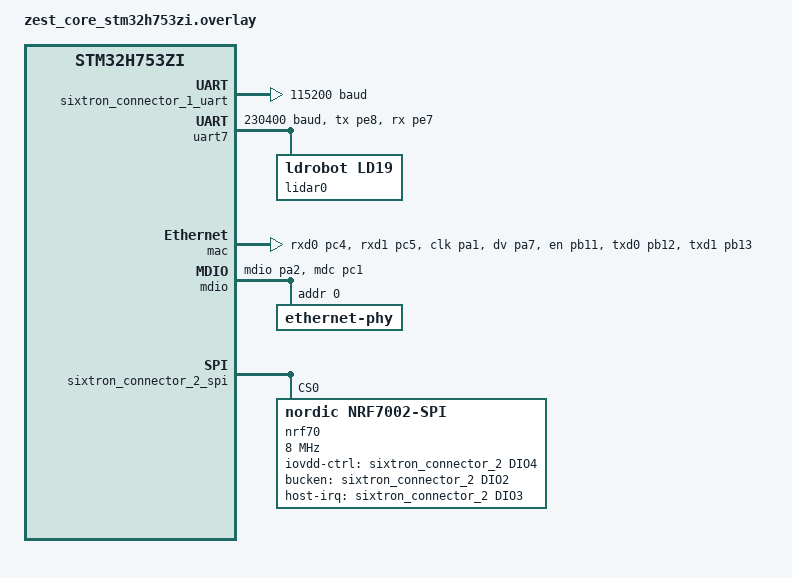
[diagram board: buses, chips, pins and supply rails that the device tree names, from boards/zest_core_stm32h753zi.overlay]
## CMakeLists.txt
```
# SPDX-License-Identifier: Apache-2.0

cmake_minimum_required(VERSION 3.13.1)

list(APPEND ZEPHYR_EXTRA_MODULES ${CMAKE_CURRENT_SOURCE_DIR}/../../../modules/micro_ros_zephyr_module/modules/libmicroros/)

find_package(Zephyr REQUIRED HINTS $ENV{ZEPHYR_BASE})
project(base_application)

# Apply Git patch before build
execute_process(
    COMMAND git apply ${CMAKE_CURRENT_SOURCE_DIR}/../fix_static_init_gnu.patch
    WORKING_DIRECTORY ${ZEPHYR_BASE}
    RESULT_VARIABLE result
)

list(APPEND CMAKE_MODULE_PATH ${ZEPHYR_BASE}/modules/nanopb)
include(nanopb)

zephyr_nanopb_sources(app src/minipock.proto)

option(INCLUDE_HTML_CONTENT "Include the HTML content" ON)

add_subdirectory(drivers)

target_include_directories(app PRIVATE include)
target_sources(app PRIVATE ${proto_sources})
target_sources(app PRIVATE src/main.c)
target_sources(app PRIVATE src/scan.c)
target_sources(app PRIVATE src/base_interface.c)
target_sources(app PRIVATE src/micro_ros_node.c)
target_sources(app PRIVATE src/update.c)
target_sources(app PRIVATE src/update_cmd.c)
target_sources(app PRIVATE src/flash_storage.c)
target_sources(app PRIVATE src/settings_cmd.c)
target_sources(app PRIVATE src/web_interface.c)

set(gen_dir ${ZEPHYR_BINARY_DIR}/include/generated/)

target_link_libraries(app PRIVATE zephyr_interface zephyr)

zephyr_linker_sources(SECTIONS sections-rom.ld)
zephyr_linker_section_ifdef(CONFIG_NET_SAMPLE_HTTP_SERVICE NAME
				http_resource_desc_web_interface_service
				KVMA RAM_REGION GROUP RODATA_REGION
				SUBALIGN ${CONFIG_LINKER_ITERABLE_SUBALIGN})

foreach(web_resource
  index.html
  style.css
  main.js
    )
  generate_inc_file_for_target(
    app
    src/static_web_resources/${web_resource}
    ${gen_dir}/${web_resource}.gz.inc
    --gzip
  )
endforeach()
```

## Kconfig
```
# SPDX-License-Identifier: Apache-2.0

mainmenu "MiniPock configuration"

menu "Zephyr"
source "Kconfig.zephyr"
endmenu

config ROS_ROS_DOMAIN_ID
    int "ROS Domain ID"
    default 10

config ROS_NAMESPACE
    string "ROS Namespace"
    default ""

rsource "drivers/Kconfig"
```

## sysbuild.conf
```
# Sysbuild MCUboot configuration

SB_CONFIG_BOOTLOADER_MCUBOOT=y
SB_CONFIG_MCUBOOT_MODE_OVERWRITE_ONLY=y
SB_CONFIG_BOOT_SIGNATURE_KEY_FILE="${APPLICATION_CONFIG_DIR}/key.pem"
```

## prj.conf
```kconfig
CONFIG_GPIO=y

CONFIG_SERIAL=y
CONFIG_UART_INTERRUPT_DRIVEN=y

CONFIG_SENSOR=y

CONFIG_LOG=y

CONFIG_MICROROS=y

CONFIG_MAIN_STACK_SIZE=8192
CONFIG_MAIN_THREAD_PRIORITY=3

CONFIG_PTHREAD_IPC=n

CONFIG_POSIX_API=y
CONFIG_POSIX_CLOCK=y

CONFIG_STDOUT_CONSOLE=y
CONFIG_UART_INTERRUPT_DRIVEN=y
CONFIG_UART_LINE_CTRL=y
CONFIG_RING_BUFFER=y

CONFIG_NANOPB=y

CONFIG_MICROROS_XRCE_DDS_MTU="4096"

CONFIG_NATIVE_POSIX_TIMER=y

CONFIG_SYSTEM_WORKQUEUE_STACK_SIZE=4096
CONFIG_NET_IPV4=y
CONFIG_NET_CONFIG_NEED_IPV4=y
CONFIG_NET_IPV6=n
CONFIG_NET_DHCPV4=y
CONFIG_SHELL=y
CONFIG_LOG=y
CONFIG_NETWORKING=y
CONFIG_NET_SOCKETS=y
CONFIG_NET_SOCKETS_POSIX_NAMES=y
CONFIG_POSIX_MAX_FDS=6

CONFIG_NET_UDP=y

CONFIG_MICROROS_TRANSPORT_UDP=y

CONFIG_ENTROPY_GENERATOR=y
CONFIG_TEST_RANDOM_GENERATOR=y

CONFIG_NET_MGMT=y
CONFIG_NET_MGMT_EVENT=y
CONFIG_NET_DHCPV4=y
CONFIG_NET_DHCPV4_OPTION_CALLBACKS=y

CONFIG_INIT_STACKS=y
CONFIG_NET_LOG=y
CONFIG_LOG=y

CONFIG_NET_SHELL=y

CONFIG_LD19_TRIGGER_GLOBAL_THREAD=y

CONFIG_MICROROS_PUBLISHERS="2"
CONFIG_MICROROS_CLIENTS="2"
CONFIG_MICROROS_AGENT_IP="192.168.1.3"

CONFIG_ROS_NAMESPACE="minipock_0"

CONFIG_WIFI=y
CONFIG_NET_L2_WIFI_MGMT=y
CONFIG_NET_PKT_RX_COUNT=10
CONFIG_NET_PKT_TX_COUNT=10
CONFIG_NET_BUF_RX_COUNT=40
CONFIG_NET_BUF_TX_COUNT=40
CONFIG_NET_MAX_CONTEXTS=10
CONFIG_NET_MAX_CONN=10

CONFIG_NET_IF_MAX_IPV4_COUNT=2

CONFIG_WIFI_FIXED_MAC_ADDRESS="02:00:00:00:00:01"

CONFIG_NET_L2_WIFI_SHELL=y
CONFIG_NET_MGMT_EVENT_QUEUE_TIMEOUT=5000
CONFIG_NET_MGMT_EVENT_QUEUE_SIZE=32

# Flash
CONFIG_FLASH=y
CONFIG_FLASH_MAP=y
CONFIG_STREAM_FLASH=y

CONFIG_IMG_MANAGER=y
CONFIG_MCUBOOT_IMGTOOL_SIGN_VERSION="2.2.0+0"

# Eventfd
CONFIG_EVENTFD=y

# Networking config
CONFIG_NET_TCP=y
CONFIG_NET_CONNECTION_MANAGER=y

# JSON
CONFIG_JSON_LIBRARY=y

# HTTP parser
CONFIG_HTTP_PARSER_URL=y
CONFIG_HTTP_PARSER=y
CONFIG_HTTP_SERVER=y
CONFIG_HTTP_SERVER_WEBSOCKET=n
```

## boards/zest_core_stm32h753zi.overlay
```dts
/ {
	chosen {
		zephyr,wifi = &wlan0;
	};

    aliases {
        rbdc-serial-port = &sixtron_connector_1_uart;
    };
};

&sixtron_connector_1_uart {
	current-speed = <115200>;
	status = "okay";
};

&uart7 {
	pinctrl-0 = <&uart7_tx_pe8 &uart7_rx_pe7>;
	pinctrl-names = "default";

	current-speed = <230400>;
	status = "okay";

  	lidar0: lidar_0 {
		compatible = "ldrobot,ld19";
	};
};

&mac {
	status = "okay";
	pinctrl-0 = <&eth_rxd0_pc4
		     &eth_rxd1_pc5
		     &eth_ref_clk_pa1
		     &eth_crs_dv_pa7
		     &eth_tx_en_pb11
		     &eth_txd0_pb12
		     &eth_txd1_pb13>;
	pinctrl-names = "default";
};

&mdio {
	status = "okay";
	pinctrl-0 = <&eth_mdio_pa2 &eth_mdc_pc1>;
	pinctrl-names = "default";

	ethernet-phy@0 {
		compatible = "ethernet-phy";
		reg = <0x00>;
		status = "okay";
	};
};

&sixtron_connector_2_spi {
	status = "okay";

	nrf70: nrf7002-spi@0 {
		compatible = "nordic,nrf7002-spi";
		status = "okay";
		reg = <0>;
		spi-max-frequency = <DT_FREQ_M(8)>;

		iovdd-ctrl-gpios = <&sixtron_connector_2 DIO4 (GPIO_ACTIVE_HIGH | GPIO_PULL_DOWN)>;    /* D0 */
		bucken-gpios = <&sixtron_connector_2 DIO2 (GPIO_ACTIVE_HIGH | GPIO_PULL_DOWN)>;        /* D1 */
		host-irq-gpios = <&sixtron_connector_2 DIO3 GPIO_ACTIVE_HIGH>;     /* D7 */

		/* Maximum TX power limits for 2.4 GHz */
		wifi-max-tx-pwr-2g-dsss = <21>;
		wifi-max-tx-pwr-2g-mcs0 = <16>;
		wifi-max-tx-pwr-2g-mcs7 = <16>;

		wifi-max-tx-pwr-5g-low-mcs0 = <13>;
		wifi-max-tx-pwr-5g-low-mcs7 = <13>;
		wifi-max-tx-pwr-5g-mid-mcs0 = <13>;
		wifi-max-tx-pwr-5g-mid-mcs7 = <13>;
		wifi-max-tx-pwr-5g-high-mcs0 = <12>;
		wifi-max-tx-pwr-5g-high-mcs7 = <12>;

		/* List of interfaces */
		wlan0: wlan0 {
			compatible = "nordic,wlan";
		};
	};
};

/delete-node/ &boot_partition;
/delete-node/ &storage_partition;
/delete-node/ &slot0_partition;
/delete-node/ &slot1_partition;
/delete-node/ &scratch_partition;

&flash0 {
	partitions {
		compatible = "fixed-partitions";
		#address-cells = <1>;
		#size-cells = <1>;

		/* 128KB for bootloader */
		boot_partition: partition@0 {
			label = "mcuboot";
			reg = <0x00000000 DT_SIZE_K(128)>;
			read-only;
		};

		/* application image slot: 896KB */
		slot0_partition: partition@20000 {
			label = "image-0";
			reg = <0x00020000 DT_SIZE_K(896)>;
		};

		/* backup slot: 896KB */
		slot1_partition: partition@100000 {
			label = "image-1";
			reg = <0x00100000 DT_SIZE_K(896)>;
		};

		/* storage: 128KB for settings */
		storage_partition: partition@1e0000 {
			label = "storage";
			reg = <0x001e0000 DT_SIZE_K(128)>;
		};
	};
};
```

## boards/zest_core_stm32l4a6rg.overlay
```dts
/ {
    aliases {
        rbdc-serial-port = &usart2;
    };
};

&usart3 {
    tx-rx-swap;
};

&usart2 {
	pinctrl-0 = <&usart2_tx_pa2 &usart2_rx_pa3>;
	pinctrl-names = "default";
	current-speed = <115200>;
	status = "okay";
};

&uart5 {
	pinctrl-0 = <&uart5_tx_pc12 &uart5_rx_pd2>;
	pinctrl-names = "default";
	current-speed = <921600>;
	status = "okay";

	esp_wifi: esp-wifi {
		compatible = "espressif,esp-at";
		status = "okay";
	};
};

&usart1 {
	pinctrl-0 = <&usart1_tx_pb6 &usart1_rx_pb7>;
	pinctrl-names = "default";

	current-speed = <230400>;
	status = "okay";

  lidar0: lidar_0 {
		compatible = "ldrobot,ld19";
	};
};
```

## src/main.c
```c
#include <zephyr/drivers/gpio.h>
#include <zephyr/kernel.h>
#include <zephyr/net/http/server.h>
#include <zephyr/net/net_context.h>
#include <zephyr/net/net_core.h>
#include <zephyr/net/net_if.h>
#include <zephyr/net/net_mgmt.h>
#include <zephyr/net/wifi_mgmt.h>

#include "flash_storage.h"
#include "micro_ros_node.h"
#include "update.h"

// Wireless management
static struct net_mgmt_event_callback wifi_shell_mgmt_cb;

// LED0
#define LED0_NODE DT_ALIAS(led0)
static const struct gpio_dt_spec led = GPIO_DT_SPEC_GET(LED0_NODE, gpios);

static bool connected = 0;

static void wifi_mgmt_event_handler(
        struct net_mgmt_event_callback *cb, uint32_t mgmt_event, struct net_if *iface)
{
    if (NET_EVENT_IPV4_ADDR_ADD == mgmt_event) {
        printk("IPv4 address added\n");
        connected = 1;
    }
}

int main()
{
    int ret;
    uint8_t major, minor, revision;
    char ssid[32];
    char password[32];
    uint8_t channel;

    update_get_current_version(&major, &minor, &revision);

    printk("MiniPock version: %d.%d.%d\n", major, minor, revision);

    // Init LED0
    if (!gpio_is_ready_dt(&led)) {
        return 0;
    }

    ret = gpio_pin_configure_dt(&led, GPIO_OUTPUT_ACTIVE);
    if (ret < 0) {
        return 0;
    }

    // Init Flash Storage
    ret = flash_storage_init();
    if (ret < 0) {
        printf("Flash storage init failed\n");
        return 0;
    }

    // Read SSID and Password from Flash
    flash_storage_read(SSID, ssid, sizeof(ssid));
    flash_storage_read(PASSWORD, password, sizeof(password));
    flash_storage_read(CHANNEL, &channel, sizeof(channel));

    if (strlen(ssid) == 0 || ssid[0] == 0xFF) {
        strcpy(ssid, CONFIG_MICROROS_WIFI_SSID);
    }

    if (strlen(password) == 0 || password[0] == 0xFF) {
        strcpy(password, CONFIG_MICROROS_WIFI_PASSWORD);
    }

    // ------ Wifi Configuration ------
    net_mgmt_init_event_callback(
            &wifi_shell_mgmt_cb, wifi_mgmt_event_handler, NET_EVENT_IPV4_ADDR_ADD);

    net_mgmt_add_event_callback(&wifi_shell_mgmt_cb);

    k_sleep(K_SECONDS(5));

    static struct wifi_connect_req_params wifi_args;

    wifi_args.security = WIFI_SECURITY_TYPE_PSK;
    wifi_args.channel = channel;
    wifi_args.psk = password;
    wifi_args.psk_length = strlen(wifi_args.psk);
    wifi_args.ssid = ssid;
    wifi_args.ssid_length = strlen(wifi_args.ssid);
    wifi_args.timeout = 0;

    struct net_if *iface = net_if_get_wifi_sta();

    if (!iface) {
        printf("No default network interface\n");
    }

    ret = net_mgmt(
            NET_REQUEST_WIFI_CONNECT, iface, &wifi_args, sizeof(struct wifi_connect_req_params));

    if (ret < 0) {
        printf("Connection request failed %d\n", ret);
    } else {
        printf("Connection requested\n");
    }

    while (!connected) {
        // printf("Waiting for connection\n");
        k_usleep(10000);
    }
    printf("Connection OK\n");

    init_micro_ros_transport();

    http_server_start();

    while (1) {
        gpio_pin_toggle_dt(&led);
        k_sleep(K_MSEC(1000));
    }
}
```

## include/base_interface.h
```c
#ifndef MOTOR_INTERFACE_H
#define MOTOR_INTERFACE_H

struct base_interface_callbacks {
    void (*send_odometry_callback)(float x, float y, float theta);
};

void send_command(float linear_x,
        float linear_y,
        float linear_z,
        float angular_x,
        float angular_y,
        float angular_z);
int init_base_interface(struct base_interface_callbacks *callbacks);

#endif // MOTOR_INTERFACE_H
```

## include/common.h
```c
#include <zephyr/kernel.h>

static uint64_t ros_timestamp;
static bool agent_connected = 0;
```

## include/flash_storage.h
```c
#ifndef FLASH_STORAGE_H
#define FLASH_STORAGE_H

#define NAMESPACE 0
#define SSID 1
#define PASSWORD 2
#define CHANNEL 3
#define AGENT_IP 4

#define SD_MODE 0 // 0: Use SD card
#define STORAGE_MODE 1 // 1: Use Flash storage

#define HOTSPOT_SSID "ShrekTelecomP" // Default SSID Used if not in using SD_MODE
#define HOTSPOT_PSK "Shrekos36" // Default Password Used if not in using SD_MODE
#define MICRO_ROS_AGENT_IP "192.168.169.25" // Default IP Used if not in using SD_MODE

int flash_storage_init(void);
int flash_storage_write(const int key, const char *value, size_t len);
int flash_storage_read(const int key, char *value, size_t max_len);

#endif // FLASH_STORAGE_H
```

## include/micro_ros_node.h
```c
#ifndef MICRO_ROS_NODE_H_
#define MICRO_ROS_NODE_H_

enum states { WAITING, AVAILABLE, CONNECTED, DISCONNECTED };

int micro_ros_node_get_last_version(void);

void disable_cmd_vel(void);

void enable_cmd_vel(void);

const char *get_micro_ros_node_status_string(enum states state);

enum states get_micro_ros_node_status(void);

int init_micro_ros_transport(void);

#endif // MICRO_ROS_NODE_H_
```

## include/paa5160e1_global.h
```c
/*
 * Copyright (c) 2025, CATIE
 * SPDX-License-Identifier: Apache-2.0
 */

#ifndef ZEPHYR_DRIVERS_SENSOR_PAA5160E1_PAA5160E1_GLOBAL_H_
#define ZEPHYR_DRIVERS_SENSOR_PAA5160E1_PAA5160E1_GLOBAL_H_

#include <zephyr/drivers/sensor.h>
#include <zephyr/types.h>

enum paa5160e1_sensor_channel {

    PAA5160E1_SENSOR_CHAN_X = SENSOR_CHAN_PRIV_START + 0,
    PAA5160E1_SENSOR_CHAN_Y = SENSOR_CHAN_PRIV_START + 1,
    PAA5160E1_SENSOR_CHAN_H = SENSOR_CHAN_PRIV_START + 2,

    PAA5160E1_SENSOR_CHAN_VEL_X = SENSOR_CHAN_PRIV_START + 3,
    PAA5160E1_SENSOR_CHAN_VEL_Y = SENSOR_CHAN_PRIV_START + 4,
    PAA5160E1_SENSOR_CHAN_VEL_H = SENSOR_CHAN_PRIV_START + 5,

    PAA5160E1_SENSOR_CHAN_ACC_X = SENSOR_CHAN_PRIV_START + 6,
    PAA5160E1_SENSOR_CHAN_ACC_Y = SENSOR_CHAN_PRIV_START + 7,
    PAA5160E1_SENSOR_CHAN_ACC_H = SENSOR_CHAN_PRIV_START + 8,

    PAA5160E1_SENSOR_CHAN_STD_X = SENSOR_CHAN_PRIV_START + 9,
    PAA5160E1_SENSOR_CHAN_STD_Y = SENSOR_CHAN_PRIV_START + 10,
    PAA5160E1_SENSOR_CHAN_STD_H = SENSOR_CHAN_PRIV_START + 11,

    PAA5160E1_SENSOR_CHAN_STD_VEL_X = SENSOR_CHAN_PRIV_START + 12,
    PAA5160E1_SENSOR_CHAN_STD_VEL_Y = SENSOR_CHAN_PRIV_START + 13,
    PAA5160E1_SENSOR_CHAN_STD_VEL_H = SENSOR_CHAN_PRIV_START + 14,

    PAA5160E1_SENSOR_CHAN_STD_ACC_X = SENSOR_CHAN_PRIV_START + 15,
    PAA5160E1_SENSOR_CHAN_STD_ACC_Y = SENSOR_CHAN_PRIV_START + 16,
    PAA5160E1_SENSOR_CHAN_STD_ACC_H = SENSOR_CHAN_PRIV_START + 17,
};

struct paa5160e1_data {
    uint32_t offsetX; // Offset X
    uint32_t offsetY; // Offset Y
    uint32_t offsetH; // Offset Heading angle

    uint16_t prev_positionX; // Previous Position X
    uint16_t prev_positionY; // Previous Position Y
    uint16_t prev_positionH; // Previous Position Heading angle

    uint16_t positionX; // Position X from 0 to 10000
    uint16_t positionY; // Position Y from 0 to 10000
    uint16_t positionH; // Heading angle from 0 to 36000

    uint32_t absolute_positionX; // Absolute Position X in mm
    uint32_t absolute_positionY; // Absolute Position Y in mm
    uint32_t absolute_positionH; // Absolute Position Heading angle in deg

    uint32_t velocityX; // Velocity X in mm/s
    uint32_t velocityY; // Velocity Y in mm/s
    uint32_t velocityH; // Velocity Heading in deg/s

    uint32_t accelerationX; // Acceleration X in mm/s^2
    uint32_t accelerationY; // Acceleration Y in mm/s^2
    uint32_t accelerationH; // Acceleration Heading angle

    uint16_t std_positionX; // Standard deviation of position X
    uint16_t std_positionY; // Standard deviation of position Y
    uint16_t std_positionH; // Standard deviation of heading angle

    uint16_t std_velocityX; // Standard deviation of velocity X
    uint16_t std_velocityY; // Standard deviation of velocity Y
    uint16_t std_velocityH; // Standard deviation of velocity Heading angle

    uint16_t std_accelerationX; // Standard deviation of acceleration X
    uint16_t std_accelerationY; // Standard deviation of acceleration Y
    uint16_t std_accelerationH; // Standard deviation of acceleration Heading angle
};

#endif /* ZEPHYR_DRIVERS_SENSOR_PAA5160E1_PAA5160E1_GLOBAL_H_ */
```

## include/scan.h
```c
#ifndef SCAN_H
#define SCAN_H

#include <rclc/rclc.h>
#include <sensor_msgs/msg/laser_scan.h>

int init_scan(rcl_node_t *node);

#endif // SCAN_H
```

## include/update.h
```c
#ifndef UPDATE_H
#define UPDATE_H

#include <zephyr/storage/flash_map.h>

#define UPDATE_CHUNK_SIZE 1024

#define PRIMARY_SLOT_PARTITION_ID FIXED_PARTITION_ID(slot0_partition)
#define SECOND_SLOT_PARTITION_ID FIXED_PARTITION_ID(slot1_partition)

struct update_interface {
    void (*request_update_params)(void);
    void (*request_update)(void);
};

struct update_params {
    const char *version;
    size_t size;
};

void update_write_chunk(const uint16_t id, const uint8_t *chunk, size_t size);
void update_get_current_version(uint8_t *major, uint8_t *minor, uint8_t *revision);
#endif // UPDATE_H
```

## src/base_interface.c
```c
#include <zephyr/drivers/uart.h>
#include <zephyr/kernel.h>
#include <zephyr/logging/log.h>

#include "pb_decode.h"
#include "pb_encode.h"

#include "base_interface.h"
#include "src/minipock.pb.h"

LOG_MODULE_REGISTER(base_interface, LOG_LEVEL_INF);

static struct base_interface_trigger *base_interface_trigger;

// Save timestamp of last message
static uint64_t last_msg_timestamp;

// UART
static const struct device *const uart_dev = DEVICE_DT_GET(DT_ALIAS(rbdc_serial_port));

// RX UART buffer for odom message
static char rx_buf[odom_size];
static int rx_buf_pos;

K_MSGQ_DEFINE(uart_msgq, odom_size, 20, 4);

void process_odometry_msg()
{
    static char data[odom_size];

    while (k_msgq_get(&uart_msgq, &data, K_FOREVER) == 0) {
        pb_istream_t stream = pb_istream_from_buffer(data, odom_size);

        odom msg = odom_init_zero;

        if (!pb_decode(&stream, odom_fields, &msg)) {
            printk("Failed to decode message");
            continue;
        }

        if (base_interface_trigger->odometry_callback != NULL) {
            base_interface_trigger->odometry_callback((float)msg.x, (float)msg.y, (float)msg.theta);
        }
    }
}

void uart_callback_handler(const struct device *dev, void *user_data)
{
    while (uart_irq_update(dev) && uart_irq_is_pending(dev)) {

        if (k_uptime_get() - last_msg_timestamp > 5) {
            if (rx_buf_pos == odom_size) {
                k_msgq_put(&uart_msgq, rx_buf, K_NO_WAIT);
            }
            rx_buf_pos = 0;
        }

        if (uart_irq_rx_ready(dev)) {
            int length = uart_fifo_read(dev, &rx_buf[rx_buf_pos], 1);
            rx_buf_pos += length;
            last_msg_timestamp = k_uptime_get();
        }
    }
}

void send_command(float linear_x,
        float linear_y,
        float linear_z,
        float angular_x,
        float angular_y,
        float angular_z)
{
    cmd_vel msg = cmd_vel_init_zero;
    msg.linear_x = linear_x;
    msg.linear_y = linear_y;
    msg.linear_z = linear_z;
    msg.angular_x = angular_x;
    msg.angular_y = angular_y;
    msg.angular_z = angular_z;

    uint8_t buffer[cmd_vel_size];

    pb_ostream_t stream = pb_ostream_from_buffer(buffer, sizeof(buffer));

    if (!pb_encode(&stream, cmd_vel_fields, &msg)) {
        return;
    }

    // If the length is still 0, manually add a dummy field
    if (stream.bytes_written == 0) {
        buffer[0] = 0x00; // Add a dummy byte
        stream.bytes_written = 1;
    }
    
    for (int i = 0; i < stream.bytes_written; i++) {
        uart_poll_out(uart_dev, buffer[i]);
    }
}

int init_base_interface(struct base_interface_trigger *trigger)
{
    int ret;

    base_interface_trigger = trigger;

    // Init UART
    if (!device_is_ready(uart_dev)) {
        LOG_ERR("UART device not found!");
        return -ENODEV;
    }

    ret = uart_irq_callback_set(uart_dev, uart_callback_handler);

    if (ret < 0) {
        if (ret == -ENOTSUP) {
            LOG_ERR("Interrupt-driven UART API support not enabled");
        } else if (ret == -ENOSYS) {
            LOG_ERR("UART device does not support interrupt-driven API");
        } else {
            LOG_ERR("Error setting UART callback: %d", ret);
        }
        return ret;
    }

    // Enable UART RX interrupt
    uart_irq_rx_enable(uart_dev);
    uart_irq_tx_disable(uart_dev);

    return 0;
}

K_THREAD_DEFINE(uart_rx_thread, 1024, process_odometry_msg, NULL, NULL, NULL, 5, 0, 0);
```

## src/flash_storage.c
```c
/*
 * Copyright (c) 2025, CATIE
 * SPDX-License-Identifier: Apache-2.0
 */

#include <zephyr/device.h>
#include <zephyr/drivers/flash.h>
#include <zephyr/kernel.h>
#include <zephyr/logging/log.h>
#include <zephyr/storage/flash_map.h>

LOG_MODULE_REGISTER(flash_storage, LOG_LEVEL_DBG);

#define MAX_KEY_LEN 64

#define FLASH_PARTITION storage_partition
#define FLASH_PARTITION_DEVICE FIXED_PARTITION_DEVICE(FLASH_PARTITION)
#define FLASH_PARTITION_OFFSET FIXED_PARTITION_OFFSET(FLASH_PARTITION)

static const struct device *flash_dev;
static uint32_t sector_size;

int flash_storage_init(void)
{
    struct flash_pages_info info;

    flash_dev = FLASH_PARTITION_DEVICE;
    if (!device_is_ready(flash_dev)) {
        printk("Flash device %s is not ready\n", flash_dev->name);
        return -ENODEV;
    }

    int rc = flash_get_page_info_by_offs(flash_dev, FLASH_PARTITION_OFFSET, &info);
    if (rc) {
        printk("Unable to get page info\n");
        return rc;
    }

    sector_size = info.size;

    return 0;
}

int flash_storage_write(int key, const void *data, size_t len)
{
    int rc;

    uint8_t buf[512];
    rc = flash_read(flash_dev, FLASH_PARTITION_OFFSET, buf, sizeof(buf));
    if (rc) {
        printk("Flash Read failed %d, key: %d", rc, key);
        return rc;
    }
    memcpy(&buf[key * MAX_KEY_LEN], data, len);
    buf[key * MAX_KEY_LEN + len] = '\0';

    rc = flash_erase(flash_dev, FLASH_PARTITION_OFFSET, sector_size);
    if (rc) {
        printk("Flash Erase failed %d", rc);
        return rc;
    }

    rc = flash_write(flash_dev, FLASH_PARTITION_OFFSET, buf, sizeof(buf));
    if (rc) {
        printk("Flash Write failed %d", rc);
        return rc;
    }
    return 0;
}

int flash_storage_read(int key, void *data, size_t len)
{
    int rc;

    if (len > MAX_KEY_LEN) {
        LOG_ERR("Data length exceeds maximum key length");
        return -EINVAL;
    }

    rc = flash_read(flash_dev, FLASH_PARTITION_OFFSET + key * MAX_KEY_LEN, data, len);
    if (rc) {
        LOG_ERR("Flash Read failed %d, key: %d", rc, key);
        return rc;
    }
    return 0;
}
```

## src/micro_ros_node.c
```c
#include <zephyr/kernel.h>

#include <geometry_msgs/msg/pose_stamped.h>
#include <geometry_msgs/msg/twist.h>
#include <micro_ros_utilities/string_utilities.h>
#include <microros_transports.h>
#include <rcl/init_options.h>
#include <rclc/executor.h>
#include <rclc/rclc.h>
#include <rmw_microros/rmw_microros.h>
#include <sensor_msgs/msg/laser_scan.h>
#include <zephyr/dfu/mcuboot.h>
#include <zephyr/logging/log.h>
#include <zephyr/sys/crc.h>

#include <minipock_msgs/srv/get_chunk.h>
#include <minipock_msgs/srv/trig_update.h>
#include <type_utilities.h>

#include "base_interface.h"
#include "flash_storage.h"
#include "micro_ros_node.h"
#include "scan.h"
#include "update.h"

LOG_MODULE_REGISTER(micro_ros_node, LOG_LEVEL_DBG);

#define UPDATE_CHUNK_SIZE 1024

static rclc_executor_t executor;
static rcl_publisher_t odom_publisher;
static rcl_publisher_t scan_publisher;
static rcl_subscription_t cmd_vel_subscriber;
static rcl_allocator_t allocator;
static rclc_support_t support;
static rcl_node_t node;
static rcl_init_options_t init_options;
static rcl_client_t client;
static rcl_client_t client_update;

static char namespace[50];

static struct base_interface_trigger base_callback;
static struct scan_trigger scan_callback;

minipock_msgs__srv__TrigUpdate_Request req;
minipock_msgs__srv__TrigUpdate_Response res;

minipock_msgs__srv__GetChunk_Request req_chunk;
minipock_msgs__srv__GetChunk_Response res_chunk;

static geometry_msgs__msg__Twist cmd_vel_twist_msg;
static uint64_t ros_timestamp;

bool iniatialized = true;

static bool estop_active = false;

static int chunk_id = 0;
static uint8_t version[3] = { 0, 0, 0 };

enum states state;

void subscription_callback(const void *msgin)
{
    const geometry_msgs__msg__Twist *uros_msg = (const geometry_msgs__msg__Twist *)msgin;

    send_command(uros_msg->linear.x,
            uros_msg->linear.y,
            uros_msg->linear.z,
            uros_msg->angular.x,
            uros_msg->angular.y,
            uros_msg->angular.z);
}

void lidar_scan_callback(const float *range_to_send,
        const float *intensity_to_send,
        const double start_angle,
        const double end_angle)
{
    static sensor_msgs__msg__LaserScan scan;

    char frame_id[75];
    snprintf(frame_id, sizeof(frame_id), "%s/lds_01_link", namespace);
    scan.header.frame_id.data = frame_id;
    scan.header.stamp.sec = (int32_t)((ros_timestamp + k_uptime_get()) / 1000);
    scan.header.stamp.nanosec = (uint32_t)((ros_timestamp + k_uptime_get()) % 1000) * 1000000;

    double angle_increment = 0;
    if (start_angle > end_angle) {
        angle_increment = (6.28 - start_angle + end_angle) / (double)NB_POINTS;
    } else {
        angle_increment = (end_angle - start_angle) / (double)NB_POINTS;
    }

    scan.angle_increment = angle_increment;
    scan.time_increment = 0;
    scan.scan_time = 0.1;
    scan.range_min = 0.02;
    scan.range_max = 12;

    memcpy(scan.ranges.data, range_to_send, NB_POINTS * sizeof(float));
    memcpy(scan.intensities.data, intensity_to_send, NB_POINTS * sizeof(float));
    scan.ranges.size = NB_POINTS;
    scan.intensities.size = NB_POINTS;

    scan.angle_min = start_angle;
    scan.angle_max = end_angle;

    if (state == CONNECTED) {
        if (rcl_publish(&scan_publisher, &scan, NULL) != RCL_RET_OK) {
            LOG_ERR("Failed to publish message");
        }
    }
}

void send_odometry_callback(float x, float y, float theta)
{
    // Convert x, y, theta to quaternion
    float cy = cos((double)theta * 0.5);
    float sy = sin((double)theta * 0.5);
    float cp = cos(0.0 * 0.5);
    float sp = sin(0.0 * 0.5);
    float cr = cos(0.0 * 0.5);
    float sr = sin(0.0 * 0.5);

    float q0 = cy * cp * cr + sy * sp * sr;
    float q1 = cy * cp * sr - sy * sp * cr;
    float q2 = sy * cp * sr + cy * sp * cr;
    float q3 = sy * cp * cr - cy * sp * sr;

    // Convert to ROS message
    static geometry_msgs__msg__PoseStamped pose_stamped_msg;

    char frame_id[60];
    snprintf(frame_id, sizeof(frame_id), "%s/odom", namespace);
    pose_stamped_msg.header.frame_id.data = frame_id;

    pose_stamped_msg.header.stamp.sec = (int32_t)((ros_timestamp + k_uptime_get()) / 1000);
    pose_stamped_msg.header.stamp.nanosec
            = (uint32_t)((ros_timestamp + k_uptime_get()) % 1000) * 1000000;

    pose_stamped_msg.pose.position.x = (float)x;
    pose_stamped_msg.pose.position.y = (float)y;
    pose_stamped_msg.pose.position.z = 0;

    pose_stamped_msg.pose.orientation.w = q0;
    pose_stamped_msg.pose.orientation.x = q1;
    pose_stamped_msg.pose.orientation.y = q2;
    pose_stamped_msg.pose.orientation.z = q3;

    if (state == CONNECTED) {
        if (rcl_publish(&odom_publisher, &pose_stamped_msg, NULL) != RCL_RET_OK) {
            LOG_ERR("Failed to publish odometry message");
        }
    }
}

void init_odometry_publisher(rcl_node_t *node)
{
    char odom_topic_name[60];

    snprintf(odom_topic_name, sizeof(odom_topic_name), "/%s/odom_raw", namespace);
    rclc_publisher_init_best_effort(&odom_publisher,
            node,
            ROSIDL_GET_MSG_TYPE_SUPPORT(geometry_msgs, msg, PoseStamped),
            odom_topic_name);
}

void init_scan_publisher(rcl_node_t *node)
{
    char scan_topic_name[60];
    snprintf(scan_topic_name, sizeof(scan_topic_name), "/%s/scan_raw", namespace);
    static rmw_qos_profile_t custom_qos_profile = rmw_qos_profile_sensor_data;

    rclc_publisher_init(&scan_publisher,
            node,
            ROSIDL_GET_MSG_TYPE_SUPPORT(sensor_msgs, msg, LaserScan),
            scan_topic_name,
            &custom_qos_profile);
}

void init_cmd_vel_subscriber(rcl_node_t *node)
{
    char cmd_vel_topic_name[60];
    snprintf(cmd_vel_topic_name, sizeof(cmd_vel_topic_name), "/%s/cmd_vel", namespace);
    rclc_subscription_init_best_effort(&cmd_vel_subscriber,
            node,
            ROSIDL_GET_MSG_TYPE_SUPPORT(geometry_msgs, msg, Twist),
            cmd_vel_topic_name);
}

void update_chunk_received(const void *msgin)
{
    const minipock_msgs__srv__GetChunk_Response *in
            = (const minipock_msgs__srv__GetChunk_Response *)msgin;

    LOG_DBG("Chunk received: %lld", in->chunk_id);
    LOG_DBG("Chunk Success: %d", in->success);
    LOG_DBG("Chunk Checksum: %lld", in->chunk_checksum);

    if (in->success == 0) {
        LOG_DBG("Message received %lld, size: %d", in->chunk_id, in->chunk_byte.size);

        uint8_t crc = 0;
        crc = crc8_ccitt(crc, in->chunk_byte.data, in->chunk_byte.size);

        LOG_DBG("CRC: %d", crc);
        if (crc == in->chunk_checksum) {
            LOG_DBG("Checksum OK");
            update_write_chunk(in->chunk_id, in->chunk_byte.data, in->chunk_byte.size);
        } else {
            LOG_ERR("Checksum failed");
        }

        minipock_msgs__srv__GetChunk_Request__init(&req_chunk);

        req_chunk.version.major = version[0];
        req_chunk.version.minor = version[1];
        req_chunk.version.patch = version[2];

        req_chunk.chunk_id = in->chunk_id + 1;
        req_chunk.chunk_size = UPDATE_CHUNK_SIZE;

        int64_t seq;

        int ret = rcl_send_request(&client_update, &req_chunk, &seq);

        if (ret != RCL_RET_OK) {
            LOG_ERR("Failed to send request %d", ret);
            return;
        }
    } else if (in->success == 2) {
        LOG_INF("Download Finished");
        boot_request_upgrade((int)BOOT_UPGRADE_PERMANENT);
    }
}

void update_service_callback(const void *msgin)
{
    const minipock_msgs__srv__TrigUpdate_Response *in
            = (const minipock_msgs__srv__TrigUpdate_Response *)msgin;

    if (in->success == 0 && in->new_version_available) {
        LOG_DBG("New version: %d.%d.%d",
                in->new_version.major,
                in->new_version.minor,
                in->new_version.patch);

        minipock_msgs__srv__GetChunk_Request__init(&req_chunk);

        req_chunk.version.major = in->new_version.major;
        req_chunk.version.minor = in->new_version.minor;
        req_chunk.version.patch = in->new_version.patch;

        version[0] = in->new_version.major;
        version[1] = in->new_version.minor;
        version[2] = in->new_version.patch;

        req_chunk.chunk_id = 0;
        req_chunk.chunk_size = UPDATE_CHUNK_SIZE;

        int64_t seq;

        int ret = rcl_send_request(&client_update, &req_chunk, &seq);

        if (ret != RCL_RET_OK) {
            LOG_ERR("Failed to send request %d", ret);
            return;
        }
    }
}

void destroy_micro_ros_node(void)
{
    LOG_INF("Destroying micro-ROS node");

    rmw_context_t *rmw_context = rcl_context_get_rmw_context(&support.context);
    (void)rmw_uros_set_context_entity_destroy_session_timeout(rmw_context, 0);

    if (rcl_publisher_fini(&odom_publisher, &node) != RCL_RET_OK) {
        LOG_ERR("Failed to destroy odometry publisher");
    }

    if (rcl_publisher_fini(&scan_publisher, &node) != RCL_RET_OK) {
        LOG_ERR("Failed to destroy scan publisher");
    }

    if (rcl_subscription_fini(&cmd_vel_subscriber, &node) != RCL_RET_OK) {
        LOG_ERR("Failed to destroy cmd_vel subscriber");
    }

    if (rclc_executor_fini(&executor) != RCL_RET_OK) {
        LOG_ERR("Failed to destroy executor");
    }

    if (rcl_node_fini(&node) != RCL_RET_OK) {
        LOG_ERR("Failed to destroy node");
    }

    if (rclc_support_fini(&support) != RCL_RET_OK) {
        LOG_ERR("Failed to destroy support");
    }
}

int init_micro_ros_transport(void)
{
    static zephyr_transport_params_t agent_param
            = { { 0, 0, 0 }, CONFIG_MICROROS_AGENT_IP, CONFIG_MICROROS_AGENT_PORT };

    char ip_address[16];

    flash_storage_read(AGENT_IP, ip_address, sizeof(ip_address));

    if (strlen(ip_address) != 0 && ip_address[0] != 0xFF) {
        memcpy(agent_param.ip, ip_address, strlen(ip_address));
    }

    rmw_uros_set_custom_transport(MICRO_ROS_FRAMING_REQUIRED,
            (void *)&agent_param,
            zephyr_transport_open,
            zephyr_transport_close,
            zephyr_transport_write,
            zephyr_transport_read);

    return 0;
}

int micro_ros_node_get_last_version(void)
{
    int64_t seq;
    int ret = 0;

    minipock_msgs__srv__TrigUpdate_Request__init(&req);

    uint8_t major, minor, revision;
    update_get_current_version(&major, &minor, &revision);

    req.actual_version.major = major;
    req.actual_version.minor = minor;
    req.actual_version.patch = revision;

    k_sleep(K_SECONDS(1));

    ret = rcl_send_request(&client, &req, &seq);
    if (ret != RCL_RET_OK) {
        LOG_ERR("Failed to send request");
    }

    return ret;
}

int init_micro_ros_node(void)
{
    if (iniatialized) {
        init_options = rcl_get_zero_initialized_init_options();
        allocator = rcl_get_default_allocator();

        // Initialize micro-ROS with options
        if (rcl_init_options_init(&init_options, allocator) != RCL_RET_OK) {
            LOG_ERR("Failed to initialize init options");
        }

        if (rcl_init_options_set_domain_id(&init_options, CONFIG_ROS_ROS_DOMAIN_ID) != RCL_RET_OK) {
            LOG_ERR("Failed to set domain id");
        }

        flash_storage_read(NAMESPACE, namespace, sizeof(namespace));

        if (strlen(namespace) == 0 || namespace[0] == 0xFF) {
            strcpy(namespace, CONFIG_ROS_NAMESPACE);
            flash_storage_write(NAMESPACE, namespace, strlen(namespace));
        }
    }

    if (rclc_support_init_with_options(&support, 0, NULL, &init_options, &allocator)
            != RCL_RET_OK) {
        LOG_ERR("Failed to initialize support");
        return -1;
    }

    // Initialize node
    if (rclc_node_init_default(&node, namespace, "", &support) != RCL_RET_OK) {
        LOG_ERR("Failed to create node");
        return -1;
    }

    // Initialize publishers
    init_odometry_publisher(&node);
    init_scan_publisher(&node);
    if (!estop_active) {
        init_cmd_vel_subscriber(&node);
    }

    // Create client
    char service_name[75];
    snprintf(service_name, sizeof(service_name), "/%s/firmware_update", namespace);
    if (rclc_client_init_default(&client,
                &node,
                ROSIDL_GET_SRV_TYPE_SUPPORT(minipock_msgs, srv, TrigUpdate),
                service_name)
            != RCL_RET_OK) {
        LOG_ERR("Failed to create client");
        return -1;
    }

    snprintf(service_name, sizeof(service_name), "/%s/firmware_update/chunk", namespace);
    if (rclc_client_init_default(&client_update,
                &node,
                ROSIDL_GET_SRV_TYPE_SUPPORT(minipock_msgs, srv, GetChunk),
                service_name)
            != RCL_RET_OK) {
        LOG_ERR("Failed to create client");
        return;
    }

    // Create executor
    executor = rclc_executor_get_zero_initialized_executor();
    if (rclc_executor_init(&executor, &support.context, 3, &allocator)) {
        LOG_ERR("Failed to initialize executor");
        return -1;
    }

    // Add subscribers to executor
    if (rclc_executor_add_subscription(&executor,
                &cmd_vel_subscriber,
                &cmd_vel_twist_msg,
                &subscription_callback,
                ON_NEW_DATA)) {
        LOG_ERR("Failed to add subscription to executor");
        return -1;
    }

    // Add client to executor
    if (rclc_executor_add_client(&executor, &client, &res, update_service_callback) != RCL_RET_OK) {
        LOG_ERR("Failed to add client to executor");
        return -1;
    }

    // Initialize chunk response
    static micro_ros_utilities_memory_conf_t conf = { 0 };

    conf.max_string_capacity = 50;
    conf.max_ros2_type_sequence_capacity = UPDATE_CHUNK_SIZE;
    conf.max_basic_type_sequence_capacity = UPDATE_CHUNK_SIZE;

    bool success = micro_ros_utilities_create_message_memory(
            ROSIDL_GET_MSG_TYPE_SUPPORT(minipock_msgs, srv, GetChunk_Response), &res_chunk, conf);

    if (rclc_executor_add_client(&executor, &client_update, &res_chunk, update_chunk_received)
            != RCL_RET_OK) {
        LOG_ERR("Failed to add client to executor");
        return;
    }

    // Synchronize time
    rmw_uros_sync_session(1000);
    ros_timestamp = rmw_uros_epoch_millis() - k_uptime_get();

    if (iniatialized) {
        // Initialize base interface
        base_callback.odometry_callback = send_odometry_callback;

        init_base_interface(&base_callback);

        // Initialize scan
        scan_callback.lidar_scan_callback = lidar_scan_callback;

        init_scan(&scan_callback);
    }

    iniatialized = false;
    state = WAITING;

    return 0;
}

enum states get_micro_ros_node_status(void)
{
    return state;
}

const char *get_micro_ros_node_status_string(enum states state)
{
    switch (state) {
        case WAITING:
            return "WAITING";
        case AVAILABLE:
            return "AVAILABLE";
        case CONNECTED:
            return "CONNECTED";
        case DISCONNECTED:
            return "DISCONNECTED";
        default:
            return "UNKNOWN";
    }
}

void disable_cmd_vel(void)
{
    estop_active = true;

    if (state != CONNECTED) {
        LOG_WRN("Cannot disable cmd_vel, node is not connected");
        return;
    }

    if (rcl_subscription_fini(&cmd_vel_subscriber, &node) != RCL_RET_OK) {
        LOG_ERR("Failed to disable cmd_vel subscriber");
    } else {
        LOG_INF("cmd_vel subscriber disabled successfully");
    }
}

void enable_cmd_vel(void)
{
    estop_active = false;

    if (state != CONNECTED) {
        LOG_WRN("Cannot enable cmd_vel, node is not connected");
        return;
    }

    init_cmd_vel_subscriber(&node);
}

void spin_micro_ros_node(void)
{
    state = WAITING;

    while (1) {
        switch (state) {
            case WAITING:
                if (rmw_uros_ping_agent(100, 1) == RMW_RET_OK) {
                    LOG_WRN("Agent found");
                    state = AVAILABLE;
                }
                break;
            case AVAILABLE:
                if (init_micro_ros_node() == 0) {
                    LOG_WRN("Micro-ROS node initialized");

                    micro_ros_node_get_last_version();

                    state = CONNECTED;
                } else {
                    LOG_ERR("Failed to initialize micro-ROS node");
                    state = DISCONNECTED;
                }
                break;
            case CONNECTED:
                int ret = rmw_uros_ping_agent(100, 10);
                if (ret != RMW_RET_OK) {
                    state = DISCONNECTED;
                }
                if (state == CONNECTED) {
                    LOG_DBG("Spinning micro-ROS node");
                    rclc_executor_spin_some(&executor, RCL_MS_TO_NS(100));
                }
                break;
            case DISCONNECTED:
                LOG_WRN("Agent disconnected");
                // k_timer_stop(&my_timer);
                destroy_micro_ros_node();
                state = WAITING;
                break;
            default:
                break;
        }
        k_msleep(100);
    }
}

K_THREAD_DEFINE(micro_ros_spin_thread, 8192, spin_micro_ros_node, NULL, NULL, NULL, 3, 0, 0);
```

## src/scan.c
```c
#include "common.h"
#include <sensor_msgs/msg/laser_scan.h>
#include <zephyr/drivers/sensor.h>
#include <zephyr/kernel.h>
#include <zephyr/logging/log.h>

#include <rcl/error_handling.h>

#include "scan.h"

LOG_MODULE_REGISTER(scan, LOG_LEVEL_INF);

#define NB_MSG 11
#define NB_POINTS_PER_MSG 12
#define NB_POINTS (NB_MSG * NB_POINTS_PER_MSG)

struct lidar_data {
    double ranges[12];
    double intensities[12];
    double start_angle;
    double end_angle;
};
static struct lidar_data lidar_msg[NB_MSG];
int lidar_msg_index = 0;

K_MSGQ_DEFINE(lidar_msgq, sizeof(struct lidar_data), 20, 4);

static rcl_publisher_t scan_publisher;

static const struct device *lidar = DEVICE_DT_GET(DT_NODELABEL(lidar0));

static void trigger_handler(const struct device *dev, const struct sensor_trigger *trigger)
{
    struct sensor_value val[15];

    struct lidar_data lidar_data;

    sensor_channel_get(lidar, SENSOR_CHAN_DISTANCE, val);

    lidar_data.start_angle = val[1].val1 / 100 * 3.14 / 180;
    lidar_data.end_angle = val[1].val2 / 100 * 3.14 / 180;

    for (int i = 0; i < NB_POINTS_PER_MSG; i++) {
        lidar_data.ranges[i] = (double)val[i + 2].val1 / 1000.;
        lidar_data.intensities[i] = (double)val[i + 2].val2;
    }

    while (k_msgq_put(&lidar_msgq, &lidar_data, K_NO_WAIT) != 0) {
        k_msgq_purge(&lidar_msgq);
    }
}

void send_lidar_data(void *, void *, void *)
{
    static float range_to_send[NB_POINTS];
    static float intensity_to_send[NB_POINTS];

    struct lidar_data lidar_data;

    static sensor_msgs__msg__LaserScan scan;

    while (true) {
        k_msgq_get(&lidar_msgq, &lidar_data, K_FOREVER);

        lidar_msg[lidar_msg_index] = lidar_data;
        lidar_msg_index++;

        if (lidar_msg_index >= NB_MSG) {
            lidar_msg_index = 0;

            for (int i = 0; i < NB_MSG; i++) {
                for (int j = 0; j < NB_POINTS_PER_MSG; j++) {
                    range_to_send[i * NB_POINTS_PER_MSG + j] = lidar_msg[i].ranges[j];
                    intensity_to_send[i * NB_POINTS_PER_MSG + j] = lidar_msg[i].intensities[j];
                }
            }

            char frame_id[50];
            snprintf(frame_id, sizeof(frame_id), "%s/lds_01_link", CONFIG_ROS_NAMESPACE);
            scan.header.frame_id.data = frame_id;
            scan.header.stamp.sec = (int32_t)((ros_timestamp + k_uptime_get()) / 1000);
            scan.header.stamp.nanosec
                    = (uint32_t)((ros_timestamp + k_uptime_get()) % 1000) * 1000000;

            double angle_increment = 0;
            if (lidar_msg[0].start_angle > lidar_msg[NB_MSG - 1].end_angle) {
                angle_increment
                        = (6.28 - lidar_msg[0].start_angle + lidar_msg[NB_MSG - 1].end_angle)
                        / (double)NB_POINTS;
            } else {
                angle_increment = (lidar_msg[NB_MSG - 1].end_angle - lidar_msg[0].start_angle)
                        / (double)NB_POINTS;
            }

            scan.angle_increment = angle_increment;
            scan.time_increment = 0;
            scan.scan_time = 0.1;
            scan.range_min = 0.02;
            scan.range_max = 12;

            scan.ranges.data = range_to_send;
            scan.intensities.data = intensity_to_send;
            scan.ranges.size = NB_POINTS;
            scan.intensities.size = NB_POINTS;

            scan.angle_min = lidar_msg[0].start_angle;
            scan.angle_max = lidar_msg[NB_MSG - 1].end_angle;

            if (agent_connected) {
                int ret = rcl_publish(&scan_publisher, &scan, NULL);
                if (ret != RCL_RET_OK) {
                    LOG_ERR("Failed to publish message: %d\n", ret);
                }
            }
        }
    }
}

int init_scan(rcl_node_t *node)
{
    int ret = 0;
    char scan_topic_name[50];
    snprintf(scan_topic_name, sizeof(scan_topic_name), "/%s/scan_raw", CONFIG_ROS_NAMESPACE);
    static rmw_qos_profile_t custom_qos_profile = rmw_qos_profile_sensor_data;

    ret = rclc_publisher_init(&scan_publisher,
            node,
            ROSIDL_GET_MSG_TYPE_SUPPORT(sensor_msgs, msg, LaserScan),
            scan_topic_name,
            &custom_qos_profile);
    if (ret != RCL_RET_OK) {
        LOG_ERR("Failed to create scan publisher: %d\n", ret);
        return ret;
    }

    // Initialize LiDAR
    if (!device_is_ready(lidar)) {
        LOG_ERR("LiDAR device not ready\n");
        return -ENODEV;
    }

    static struct sensor_trigger trig = {
        .type = SENSOR_TRIG_DATA_READY,
        .chan = SENSOR_CHAN_DISTANCE,
    };

    ret = sensor_trigger_set(lidar, &trig, trigger_handler);
    if (ret) {
        LOG_ERR("Failed to set trigger\n");
        return ret;
    }

    return 0;
}

K_THREAD_DEFINE(scan_thread, 8162, send_lidar_data, NULL, NULL, NULL, 10, 0, 0);
```

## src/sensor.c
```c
#include <zephyr/drivers/sensor.h>
#include <zephyr/kernel.h>
#include <zephyr/logging/log.h>

#include <rcl/error_handling.h>
#include <rcl/rcl.h>

#include "base_interface.h" // Include the header file that defines struct base_interface_trigger
#include "paa5160e1_global.h"

LOG_MODULE_REGISTER(sensor, LOG_LEVEL_DBG);

static struct base_interface_trigger *sensor_interface_trigger;

#define NB_MSG 11

struct optic_sensor_data {
    struct sensor_value x;
    struct sensor_value y;
    struct sensor_value h;
};

static struct optic_sensor_data optic_sensor_msg[NB_MSG];
K_MSGQ_DEFINE(optic_sensor_msgq, sizeof(struct optic_sensor_data), 20, 4);

static void trigger_handler_sensor(const struct device *dev, struct sensor_trigger *trigger)
{
    int ret;
    struct sensor_value value;
    struct optic_sensor_data optic_sensor_data;

    sensor_channel_get(dev, PAA5160E1_SENSOR_CHAN_X, &value);
    // printk("X: %d.%06d mm", value.val1, value.val2);
    optic_sensor_data.x = value;

    sensor_channel_get(dev, PAA5160E1_SENSOR_CHAN_Y, &value);
    // printk("Y: %d.%06d mm", value.val1, value.val2);
    optic_sensor_data.y = value;

    sensor_channel_get(dev, PAA5160E1_SENSOR_CHAN_H, &value);
    printk("H: %d \n", value.val1);
    optic_sensor_data.h = value;

    while (k_msgq_put(&optic_sensor_msgq, &optic_sensor_data, K_NO_WAIT) != 0) 
    {
        k_msgq_purge(&optic_sensor_msgq);
    }
}

void optic_sensor_thread(void)
{
    LOG_DBG("Sensor thread started");

    while (true) {
        struct optic_sensor_data optic_sensor_data;
        k_msgq_get(&optic_sensor_msgq, &optic_sensor_data, K_FOREVER);

        if (sensor_interface_trigger->odometry_callback != NULL) {
            sensor_interface_trigger->odometry_callback(((float)optic_sensor_data.x.val1)/1000.0,
                    ((float)optic_sensor_data.y.val1)/1000.0,
                    ((float)optic_sensor_data.h.val1 * 3.14159265359 / 1800.0 ));
        }
    }
}

int init_optic_sensor(struct base_interface_trigger *trigger)
{
    sensor_interface_trigger = trigger;

    const struct device *sensor_dev;
    struct sensor_trigger trig;
    int ret;

    sensor_dev = DEVICE_DT_GET(DT_NODELABEL(paa5160e1));
    if (!sensor_dev) {
        LOG_ERR("No device found\n");
        return;
    }

    trig.type = SENSOR_TRIG_DATA_READY;
    trig.chan = SENSOR_CHAN_ALL;

    ret = sensor_trigger_set(sensor_dev, &trig, trigger_handler_sensor);
    if (ret) {
        LOG_ERR("Failed to set sensor trigger (%d)\n", ret);
        return;
    }

    return 0;
}

K_THREAD_DEFINE(sensor_thread_id, 2048, optic_sensor_thread, NULL, NULL, NULL, 7, 0, 0);
```
